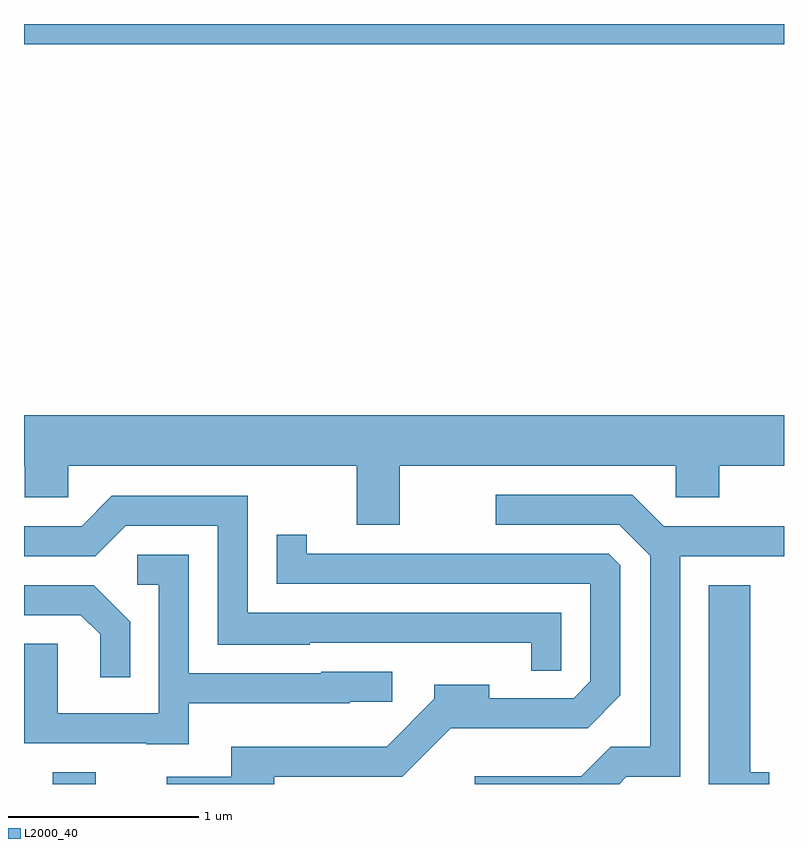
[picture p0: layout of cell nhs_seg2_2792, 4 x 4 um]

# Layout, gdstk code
import gdstk
lib = gdstk.Library(unit=1e-6, precision=1e-09)
def R(c, l, rs):  # rectangles x0, y0, x1, y1
    for r in rs: c.add(gdstk.rectangle(r[:2], r[2:], *l))
def P(c, l, *ps):  # polygons
    for p in ps: c.add(gdstk.Polygon(p, *l))
L2000_40 = (2000, 40)

nhs_seg2_2792 = lib.new_cell('nhs_seg2_2792')
R(nhs_seg2_2792, L2000_40, [(267.761,997.802,267.989,997.864), (267.611,1001.696,271.611,1001.802)])
P(nhs_seg2_2792, L2000_40, [(269.589,999.476),(271.041,999.476),(271.041,999.311),(271.269,999.311),(271.269,999.476),(271.611,999.476),(271.611,999.744),(267.611,999.744),(267.611,999.476),(267.616,999.476),(267.616,999.311),(267.844,999.311),(267.844,999.476),(269.361,999.476),(269.361,999.166),(269.589,999.166)],
  [(270.782,997.841),(271.064,997.841),(271.064,999.001),(271.611,999.001),(271.611,999.159),(270.977,999.159),(270.812,999.324),(270.093,999.324),(270.093,999.166),(270.744,999.166),(270.906,999.004),(270.906,997.999),(270.699,997.999),(270.544,997.844),(269.983,997.844),(269.983,997.802),(270.743,997.802)],
  [(270.439,998.704),(268.789,998.704),(268.789,999.319),(268.074,999.319),(267.914,999.159),(267.611,999.159),(267.611,999.001),(267.987,999.001),(268.147,999.161),(268.631,999.161),(268.631,998.536),(269.115,998.536),(269.115,998.546),(270.281,998.546),(270.281,998.398),(270.439,998.398)],
  [(268.929,997.841),(269.602,997.841),(269.857,998.096),(270.577,998.096),(270.749,998.269),(270.749,998.954),(270.689,999.014),(269.099,999.014),(269.099,999.113),(268.941,999.113),(268.941,998.856),(270.591,998.856),(270.591,998.342),(270.504,998.254),(270.059,998.254),(270.059,998.324),(269.771,998.324),(269.771,998.252),(269.519,997.999),(268.701,997.999),(268.701,997.839),(268.363,997.839),(268.363,997.802),(268.929,997.802)],
  [(268.479,998.226),(269.325,998.226),(269.325,998.236),(269.548,998.236),(269.548,998.394),(269.175,998.394),(269.175,998.384),(268.479,998.384),(268.479,999.009),(268.208,999.009),(268.208,998.851),(268.321,998.851),(268.321,998.174),(267.789,998.174),(267.789,998.539),(267.611,998.539),(267.611,998.016),(268.255,998.016),(268.255,998.011),(268.479,998.011)],
  [(271.533,997.864),(271.434,997.864),(271.434,998.849),(271.216,998.849),(271.216,997.802),(271.533,997.802)],
  [(268.169,998.657),(267.977,998.849),(267.611,998.849),(267.611,998.691),(267.909,998.691),(268.011,998.589),(268.011,998.363),(268.169,998.363)])

lib.write_gds('nhs_seg2_2792.gds')
